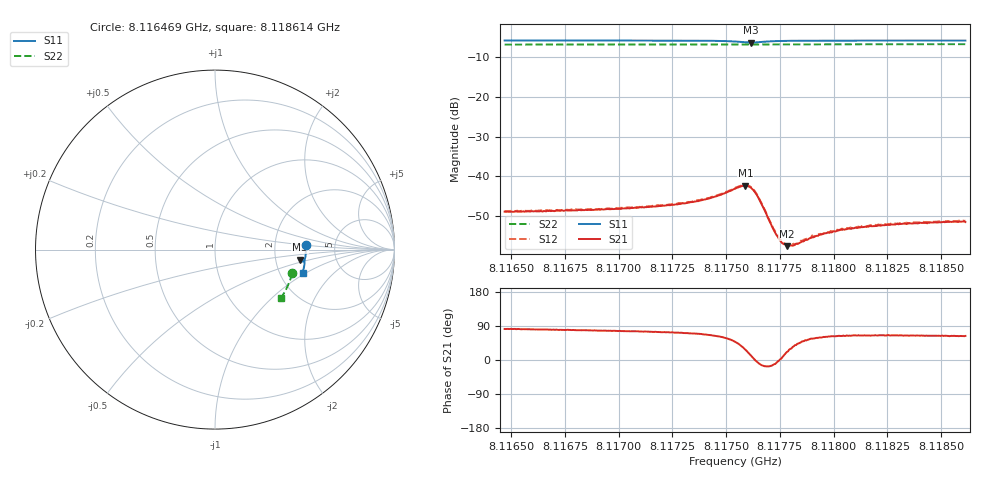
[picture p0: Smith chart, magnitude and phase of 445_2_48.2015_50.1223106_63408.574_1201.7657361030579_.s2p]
#  HZ  S  RI  R  50.00
! Rohde & Schwarz Vector Network Analyzer
! Rohde-Schwarz,ZNB20-2Port,1311601062101988,3.16
! Created: UTC 3/20/2024, 11:56:00 AM
! freq[Hz]  re:S11  im:S11  re:S21  im:S21  re:S12  im:S12  re:S22  im:S22
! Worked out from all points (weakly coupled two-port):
!   401 points, 8.116469 GHz to 8.118614 GHz, reference 50 ohm
!   highest |S21| = -42.32 dB at 8.11759 GHz (marker M1); lowest = -57.5 dB at 8.117783 GHz (marker M2)
!   lowest |S11| = -6.4 dB at 8.117617 GHz (marker M3), VSWR 2.82, Z = 138 - j19.8 ohm
!   |S11| at or under -10 dB: nowhere
!   |S22| runs from -6.9 to -6.8 dB; largest |S21 - S12| = 0.00021
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8.1164692e9  0.5067 0.0239  0.000512 0.00358  0.000535 0.00363  0.4299 -0.1329
8.1168285e9  0.5066 -0.00363  0.000753 0.00369  0.000803 0.00377  0.4228 -0.157
8.1171877e9  0.5046 -0.0322  0.0012 0.00409  0.00121 0.00417  0.4144 -0.1805
8.1173861e9  0.501 -0.0502  0.00184 0.00469  0.00197 0.00475  0.409 -0.1933
8.1174611e9  0.4976 -0.0581  0.00263 0.00507  0.00268 0.00518  0.4067 -0.1982
8.1175415e9  0.4877 -0.0661  0.00466 0.00521  0.00481 0.00529  0.4039 -0.2034
8.1175898e9  0.4764 -0.0633  0.0068 0.00351  0.00697 0.0035  0.4023 -0.2062
8.1176166e9  0.4737 -0.0555  0.00705 0.00134  0.00721 0.00133  0.4015 -0.2074
8.1176327e9  0.4754 -0.0506  0.00642 9.14e-05  0.00657 0.000108  0.401 -0.2083
8.1176541e9  0.4806 -0.0468  0.00509 -0.000855  0.00519 -0.000926  0.4009 -0.2091
8.1177078e9  0.4924 -0.0496  0.00247 -0.000688  0.0025 -0.000732  0.3999 -0.2128
8.1177399e9  0.4958 -0.054  0.00176 -0.000134  0.00183 -0.000162  0.3989 -0.215
8.1177614e9  0.4971 -0.0568  0.00144 0.000171  0.00149 0.000138  0.3983 -0.2163
8.1177828e9  0.4982 -0.0596  0.00124 0.000479  0.00131 0.000485  0.3976 -0.2176
8.1178043e9  0.4986 -0.0622  0.00118 0.000688  0.00115 0.000701  0.397 -0.2192
8.1178311e9  0.4989 -0.0653  0.00105 0.00097  0.00109 0.000934  0.3962 -0.2209
8.1178579e9  0.4991 -0.0681  0.000991 0.00115  0.00105 0.00118  0.3953 -0.2227
8.1179008e9  0.4991 -0.0723  0.000954 0.00143  0.00102 0.0015  0.3941 -0.2252
8.1180348e9  0.4979 -0.0843  0.000967 0.00192  0.000993 0.00194  0.3896 -0.2337
8.1181796e9  0.4959 -0.0961  0.00101 0.00215  0.00103 0.00224  0.3845 -0.2427
8.11826e9  0.4948 -0.1023  0.00104 0.00223  0.00101 0.00229  0.3817 -0.2475
8.1186139e9  0.4884 -0.1288  0.00119 0.0024  0.00129 0.00246  0.3684 -0.2685
